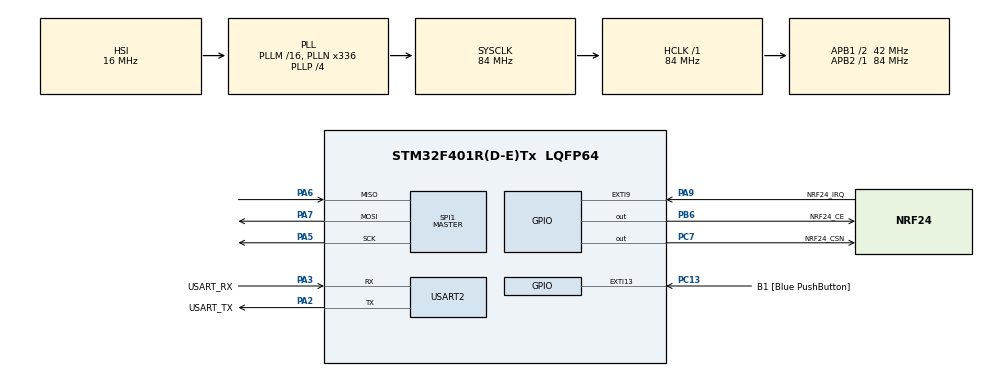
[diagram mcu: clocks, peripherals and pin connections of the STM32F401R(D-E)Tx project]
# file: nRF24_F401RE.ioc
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Mcu.Family=STM32F4
Mcu.Name=STM32F401R(D-E)Tx
Mcu.Package=LQFP64
NVIC.EXTI9_5_IRQn=true\:0\:0\:false\:true\:true\:1\:true\:true
NVIC.PriorityGroup=NVIC_PRIORITYGROUP_0
PA13.GPIO_Label=TMS
PA13.Mode=Serial_Wire
PA13.Signal=SYS_JTMS-SWDIO
PA14.GPIO_Label=TCK
PA14.Mode=Serial_Wire
PA14.Signal=SYS_JTCK-SWCLK
PA2.GPIO_Label=USART_TX
PA2.GPIO_Mode=GPIO_MODE_AF_PP
PA2.GPIO_PuPd=GPIO_NOPULL
PA2.GPIO_Speed=GPIO_SPEED_FREQ_LOW
PA2.Mode=Asynchronous
PA2.Signal=USART2_TX
PA3.GPIO_Label=USART_RX
PA3.GPIO_Mode=GPIO_MODE_AF_PP
PA3.GPIO_PuPd=GPIO_NOPULL
PA3.GPIO_Speed=GPIO_SPEED_FREQ_LOW
PA3.Mode=Asynchronous
PA3.Signal=USART2_RX
PA5.Mode=Full_Duplex_Master
PA5.Signal=SPI1_SCK
PA6.Mode=Full_Duplex_Master
PA6.Signal=SPI1_MISO
PA7.Mode=Full_Duplex_Master
PA7.Signal=SPI1_MOSI
PA9.GPIO_Label=NRF24_IRQ
PA9.GPIO_ModeDefaultEXTI=GPIO_MODE_IT_FALLING
PA9.Signal=GPXTI9
PB3.GPIO_Label=SWO
PB3.Signal=SYS_JTDO-SWO
PB6.GPIO_Label=NRF24_CE
PB6.Signal=GPIO_Output
PC13-ANTI_TAMP.GPIO_Label=B1 [Blue PushButton]
PC13-ANTI_TAMP.GPIO_ModeDefaultEXTI=GPIO_MODE_IT_FALLING
PC13-ANTI_TAMP.GPIO_PuPd=GPIO_NOPULL
PC13-ANTI_TAMP.Signal=GPXTI13
PC14-OSC32_IN.Mode=LSE-External-Oscillator
PC14-OSC32_IN.Signal=RCC_OSC32_IN
PC15-OSC32_OUT.Mode=LSE-External-Oscillator
PC15-OSC32_OUT.Signal=RCC_OSC32_OUT
PC7.GPIO_Label=NRF24_CSN
PC7.Signal=GPIO_Output
PH0\ -\ OSC_IN.Mode=HSE-External-Clock-Source
PH0\ -\ OSC_IN.Signal=RCC_OSC_IN
PH1\ -\ OSC_OUT.Mode=HSE-External-Clock-Source
PH1\ -\ OSC_OUT.Signal=RCC_OSC_OUT
ProjectManager.HeapSize=0x200
ProjectManager.StackSize=0x400
ProjectManager.TargetToolchain=STM32CubeIDE
RCC.48MHZClocksFreq_Value=48000000
RCC.AHBFreq_Value=84000000
RCC.APB1CLKDivider=RCC_HCLK_DIV2
RCC.APB1Freq_Value=42000000
RCC.APB1TimFreq_Value=84000000
RCC.APB2Freq_Value=84000000
RCC.APB2TimFreq_Value=84000000
RCC.CortexFreq_Value=84000000
RCC.HCLKFreq_Value=84000000
RCC.HSE_VALUE=8000000
RCC.HSI_VALUE=16000000
RCC.PLLN=336
RCC.PLLP=RCC_PLLP_DIV4
RCC.PLLQ=7
RCC.SYSCLKFreq_VALUE=84000000
RCC.SYSCLKSource=RCC_SYSCLKSOURCE_PLLCLK
RCC.VCOOutputFreq_Value=336000000
SPI1.BaudRatePrescaler=SPI_BAUDRATEPRESCALER_16
SPI1.Direction=SPI_DIRECTION_2LINES
SPI1.Mode=SPI_MODE_MASTER
SPI1.VirtualType=VM_MASTER
USART2.VirtualMode=VM_ASYNC
board=NUCLEO-F401RE

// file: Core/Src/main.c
/* USER CODE BEGIN Header */
/**
  ******************************************************************************
  * @file           : main.c
  * @brief          : Main program body
  ******************************************************************************
  * @attention
  *
  * <h2><center>&copy; Copyright (c) 2020 STMicroelectronics.
  * All rights reserved.</center></h2>
  *
  * This software component is licensed by ST under BSD 3-Clause license,
  * the "License"; You may not use this file except in compliance with the
  * License. You may obtain a copy of the License at:
  *                        opensource.org/licenses/BSD-3-Clause
  *
  ******************************************************************************
  */
/* USER CODE END Header */

#include "main.h"
#include "spi.h"
#include "usart.h"
#include "gpio.h"

/* USER CODE BEGIN Includes */
#include "stdio.h"
#include "nRF24/nRF24_Defs.h"
#include "nRF24/nRF24.h"
#include "ring_buffer.h"
/* USER CODE END Includes */

/* USER CODE BEGIN PD */
#define MESSAGE_BUFF_LEN 100 // 32 payload + \0

/* USER CODE END PD */

/* USER CODE BEGIN PV */
volatile uint8_t nrf24_rx_flag, nrf24_tx_flag, nrf24_mr_flag;
uint8_t Nrf24_Message[MESSAGE_BUFF_LEN];
uint8_t Message[MESSAGE_BUFF_LEN];
uint8_t MessageLength;
uint32_t Numbers[9] = { 1, 12, 123, 1234, 12345, 123456, 1234567, 12345678, 123456789};
/* USER CODE END PV */

void SystemClock_Config(void);
static void MX_NVIC_Init(void);

int main(void)
{

  /* MCU Configuration--------------------------------------------------------*/

  /* Reset of all peripherals, Initializes the Flash interface and the Systick. */
  HAL_Init();

  /* Configure the system clock */
  SystemClock_Config();

  /* Initialize all configured peripherals */
  MX_GPIO_Init();
  MX_USART2_UART_Init();
  MX_SPI1_Init();

  /* Initialize interrupts */
  MX_NVIC_Init();
  /* USER CODE BEGIN 2 */
  nRF24_Init(&hspi1);
  nRF24_SetRXAddress(0, "Nad");
  nRF24_SetTXAddress("Odb");
  nRF24_TX_Mode();
  uint8_t i;
  uint32_t PackageTimer = HAL_GetTick();
  /* USER CODE END 2 */

  /* Infinite loop */
  /* USER CODE BEGIN WHILE */
  while (1)
  {
#if (NRF24_USE_INTERRUPT == 1)
	  nRF24_Event();
#endif

	  if((HAL_GetTick() - PackageTimer) > 1000)
	  {
		  MessageLength = sprintf(Message, "%d\n\r", Numbers[i] );
//		  MessageLength = sprintf(Message, "abcdefghijklmnopqrstuwxyz1234567890 0987654321zyxwutsrqponmlkjihgfedcba\n\r" );
		  nRF24_SendData(Message, MessageLength);

		  i += 1;
		  i %= 9;

		  PackageTimer = HAL_GetTick();
	  }

    /* USER CODE END WHILE */

  }
}

void SystemClock_Config(void)
{
  RCC_OscInitTypeDef RCC_OscInitStruct = {0};
  RCC_ClkInitTypeDef RCC_ClkInitStruct = {0};

  /** Configure the main internal regulator output voltage
  */
  __HAL_RCC_PWR_CLK_ENABLE();
  __HAL_PWR_VOLTAGESCALING_CONFIG(PWR_REGULATOR_VOLTAGE_SCALE2);
  /** Initializes the CPU, AHB and APB busses clocks
  */
  RCC_OscInitStruct.OscillatorType = RCC_OSCILLATORTYPE_HSI;
  RCC_OscInitStruct.HSIState = RCC_HSI_ON;
  RCC_OscInitStruct.HSICalibrationValue = RCC_HSICALIBRATION_DEFAULT;
  RCC_OscInitStruct.PLL.PLLState = RCC_PLL_ON;
  RCC_OscInitStruct.PLL.PLLSource = RCC_PLLSOURCE_HSI;
  RCC_OscInitStruct.PLL.PLLM = 16;
  RCC_OscInitStruct.PLL.PLLN = 336;
  RCC_OscInitStruct.PLL.PLLP = RCC_PLLP_DIV4;
  RCC_OscInitStruct.PLL.PLLQ = 7;
  if (HAL_RCC_OscConfig(&RCC_OscInitStruct) != HAL_OK)
  {
    Error_Handler();
  }
  /** Initializes the CPU, AHB and APB busses clocks
  */
  RCC_ClkInitStruct.ClockType = RCC_CLOCKTYPE_HCLK|RCC_CLOCKTYPE_SYSCLK
                              |RCC_CLOCKTYPE_PCLK1|RCC_CLOCKTYPE_PCLK2;
  RCC_ClkInitStruct.SYSCLKSource = RCC_SYSCLKSOURCE_PLLCLK;
  RCC_ClkInitStruct.AHBCLKDivider = RCC_SYSCLK_DIV1;
  RCC_ClkInitStruct.APB1CLKDivider = RCC_HCLK_DIV2;
  RCC_ClkInitStruct.APB2CLKDivider = RCC_HCLK_DIV1;

  if (HAL_RCC_ClockConfig(&RCC_ClkInitStruct, FLASH_LATENCY_2) != HAL_OK)
  {
    Error_Handler();
  }
}

/**
  * @brief NVIC Configuration.
  * @retval None
  */
static void MX_NVIC_Init(void)
{
  /* EXTI9_5_IRQn interrupt configuration */
  HAL_NVIC_SetPriority(EXTI9_5_IRQn, 0, 0);
  HAL_NVIC_EnableIRQ(EXTI9_5_IRQn);
}

/* USER CODE BEGIN 4 */
void HAL_GPIO_EXTI_Callback(uint16_t GPIO_Pin)
{
	if(GPIO_Pin == NRF24_IRQ_Pin)
	{
#if (NRF24_USE_INTERRUPT == 1)
		nRF24_IRQ_Handler();
#endif
	}
}

/* USER CODE END 4 */

void Error_Handler(void)
{
}

/************************ (C) COPYRIGHT STMicroelectronics *****END OF FILE****/
